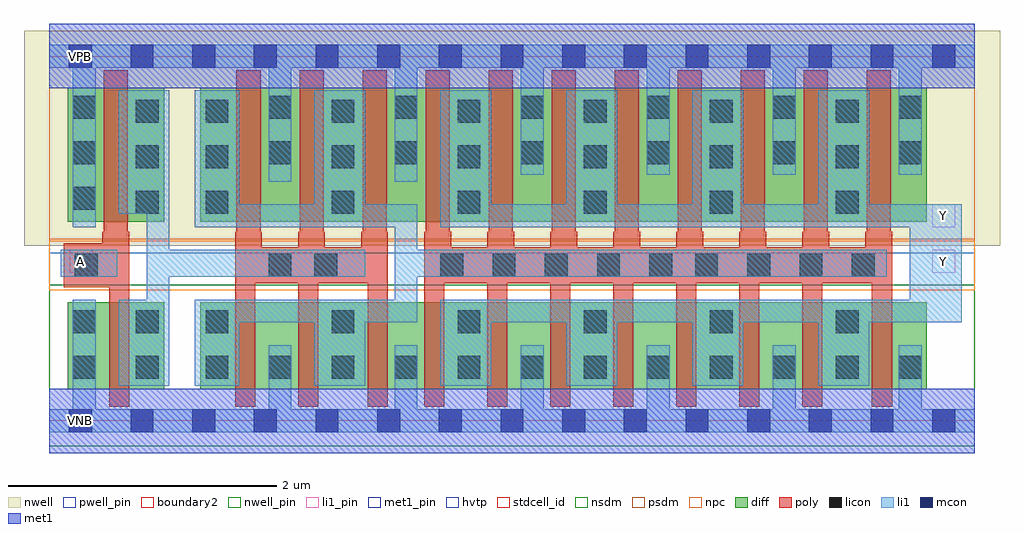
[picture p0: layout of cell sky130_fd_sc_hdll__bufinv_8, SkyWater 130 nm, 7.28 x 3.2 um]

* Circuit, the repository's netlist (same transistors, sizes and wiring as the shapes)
* Copyright 2020 The SkyWater PDK Authors
*
* Licensed under the Apache License, Version 2.0 (the "License");
* you may not use this file except in compliance with the License.
* You may obtain a copy of the License at
*
*     https://www.apache.org/licenses/LICENSE-2.0
*
* Unless required by applicable law or agreed to in writing, software
* distributed under the License is distributed on an "AS IS" BASIS,
* WITHOUT WARRANTIES OR CONDITIONS OF ANY KIND, either express or implied.
* See the License for the specific language governing permissions and
* limitations under the License.
*
* SPDX-License-Identifier: Apache-2.0

.SUBCKT sky130_fd_sc_hdll__bufinv_8 A VGND VNB VPB VPWR Y
*.PININFO A:I VGND:I VNB:I VPB:I VPWR:I Y:O
MMIN1 Ab A VGND VNB sky130_fd_pr__nfet_01v8 m=1 w=0.65U l=0.15U mult=1 sa=0.265
+ sb=0.265 sd=0.28 area=0.063 perim=1.14
MMIN2 Abb Ab VGND VNB sky130_fd_pr__nfet_01v8 m=3 w=0.65U l=0.15U mult=1 sa=0.265
+ sb=0.265 sd=0.28 area=0.063 perim=1.14
MMIN3 Y Abb VGND VNB sky130_fd_pr__nfet_01v8 m=8 w=0.65U l=0.15U mult=1 sa=0.265
+ sb=0.265 sd=0.28 area=0.063 perim=1.14
MMIP1 Ab A VPWR VPB sky130_fd_pr__pfet_01v8_hvt m=1 w=1.0U l=0.18U mult=1 sa=0.265
+ sb=0.265 sd=0.28 area=0.063 perim=1.14
MMIP2 Abb Ab VPWR VPB sky130_fd_pr__pfet_01v8_hvt m=3 w=1.0U l=0.18U mult=1 sa=0.265
+ sb=0.265 sd=0.28 area=0.063 perim=1.14
MMIP3 Y Abb VPWR VPB sky130_fd_pr__pfet_01v8_hvt m=8 w=1.0U l=0.18U mult=1 sa=0.265
+ sb=0.265 sd=0.28 area=0.063 perim=1.14
.ENDS sky130_fd_sc_hdll__bufinv_8

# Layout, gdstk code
import gdstk
lib = gdstk.Library(unit=1e-6, precision=1e-09)
def R(c, l, rs):  # rectangles x0, y0, x1, y1
    for r in rs: c.add(gdstk.rectangle(r[:2], r[2:], *l))
def A(c, l, x, y, w, h, nx, ny, dx, dy):  # array of equal rectangles
    R(c, l, [(x+i*dx, y+j*dy, x+i*dx+w, y+j*dy+h) for i in range(nx) for j in range(ny)])
def P(c, l, *ps):  # polygons
    for p in ps: c.add(gdstk.Polygon(p, *l))
nwell_pin = (64, 16)
nwell = (64, 20)
diff = (65, 20)
poly = (66, 20)
licon = (66, 44)
li1_pin = (67, 16)
li1 = (67, 20)
mcon = (67, 44)
met1_pin = (68, 16)
met1 = (68, 20)
hvtp = (78, 44)
stdcell_id = (81, 4)
nsdm = (93, 44)
psdm = (94, 20)
npc = (95, 20)
pwell_pin = (122, 16)
boundary2 = (236, 0)

sky130_fd_sc_hdll__bufin = lib.new_cell('sky130_fd_sc_hdll__bufinv_8')
R(sky130_fd_sc_hdll__bufin, nwell_pin, [(0.15,2.635,0.32,2.805)])
R(sky130_fd_sc_hdll__bufin, nwell, [(-0.19,1.305,7.09,2.91)])
R(sky130_fd_sc_hdll__bufin, diff, [(0.135,0.235,0.855,0.885), (1.125,0.235,6.545,0.885), (0.135,1.485,0.855,2.485), (1.125,1.485,6.545,2.485)])
P(sky130_fd_sc_hdll__bufin, poly, [(0.595,1.41),(0.585,1.41),(0.585,2.615),(0.405,2.615),(0.405,1.41),(0.395,1.41),(0.395,1.325),(0.105,1.325),(0.105,0.995),(0.445,0.995),(0.445,0.105),(0.595,0.105)],
  [(2.525,1.41),(2.515,1.41),(2.515,2.615),(2.335,2.615),(2.335,1.41),(2.325,1.41),(2.325,1.295),(2.055,1.295),(2.055,1.41),(2.045,1.41),(2.045,2.615),(1.865,2.615),(1.865,1.41),(1.855,1.41),(1.855,1.295),(1.585,1.295),(1.585,1.41),(1.575,1.41),(1.575,2.615),(1.395,2.615),(1.395,1.41),(1.385,1.41),(1.385,0.105),(1.535,0.105),(1.535,1.025),(1.855,1.025),(1.855,0.105),(2.005,0.105),(2.005,1.025),(2.375,1.025),(2.375,0.105),(2.525,0.105)],
  [(6.285,1.41),(6.275,1.41),(6.275,2.615),(6.095,2.615),(6.095,1.41),(6.085,1.41),(6.085,1.295),(5.815,1.295),(5.815,1.41),(5.805,1.41),(5.805,2.615),(5.625,2.615),(5.625,1.41),(5.615,1.41),(5.615,1.295),(5.345,1.295),(5.345,1.41),(5.335,1.41),(5.335,2.615),(5.155,2.615),(5.155,1.41),(5.145,1.41),(5.145,1.295),(4.875,1.295),(4.875,1.41),(4.865,1.41),(4.865,2.615),(4.685,2.615),(4.685,1.41),(4.675,1.41),(4.675,1.295),(4.405,1.295),(4.405,1.41),(4.395,1.41),(4.395,2.615),(4.215,2.615),(4.215,1.41),(4.205,1.41),(4.205,1.295),(3.935,1.295),(3.935,1.41),(3.925,1.41),(3.925,2.615),(3.745,2.615),(3.745,1.41),(3.735,1.41),(3.735,1.295),(3.465,1.295),(3.465,1.41),(3.455,1.41),(3.455,2.615),(3.275,2.615),(3.275,1.41),(3.265,1.41),(3.265,1.295),(2.995,1.295),(2.995,1.41),(2.985,1.41),(2.985,2.615),(2.805,2.615),(2.805,1.41),(2.795,1.41),(2.795,0.105),(2.945,0.105),(2.945,1.025),(3.265,1.025),(3.265,0.105),(3.415,0.105),(3.415,1.025),(3.735,1.025),(3.735,0.105),(3.885,0.105),(3.885,1.025),(4.205,1.025),(4.205,0.105),(4.355,0.105),(4.355,1.025),(4.675,1.025),(4.675,0.105),(4.825,0.105),(4.825,1.025),(5.145,1.025),(5.145,0.105),(5.295,0.105),(5.295,1.025),(5.615,1.025),(5.615,0.105),(5.765,0.105),(5.765,1.025),(6.135,1.025),(6.135,0.105),(6.285,0.105)])
A(sky130_fd_sc_hdll__bufin, licon, 1.165, 0.315, 0.17, 0.17, 12, 1, 0.47, 0)
A(sky130_fd_sc_hdll__bufin, licon, 1.165, 0.655, 0.17, 0.17, 6, 2, 0.94, 0.89)
A(sky130_fd_sc_hdll__bufin, licon, 2.915, 1.075, 0.17, 0.17, 5, 1, 0.39, 0)
A(sky130_fd_sc_hdll__bufin, licon, 4.815, 1.075, 0.17, 0.17, 4, 1, 0.39, 0)
A(sky130_fd_sc_hdll__bufin, licon, 0.645, 1.545, 0.17, 0.17, 1, 3, 0, 0.34)
A(sky130_fd_sc_hdll__bufin, licon, 0.175, 1.575, 0.17, 0.17, 1, 3, 0, 0.34)
A(sky130_fd_sc_hdll__bufin, licon, 1.165, 1.885, 0.17, 0.17, 6, 2, 0.94, 0.34)
A(sky130_fd_sc_hdll__bufin, licon, 1.635, 1.915, 0.17, 0.17, 6, 2, 0.94, 0.34)
R(sky130_fd_sc_hdll__bufin, licon, [(0.175,0.315,0.345,0.485), (0.645,0.315,0.815,0.485), (0.175,0.655,0.345,0.825), (0.645,0.655,0.815,0.825), (0.19,1.075,0.36,1.245), (1.635,1.075,1.805,1.245), (1.975,1.075,2.145,1.245)])
R(sky130_fd_sc_hdll__bufin, li1_pin, [(0.15,1.105,0.32,1.275), (6.585,1.105,6.755,1.275), (6.585,1.445,6.755,1.615)])
R(sky130_fd_sc_hdll__bufin, li1, [(0.085,1.075,0.505,1.275)])
P(sky130_fd_sc_hdll__bufin, li1, [(6.9,0.085),(6.505,0.085),(6.505,0.565),(6.335,0.565),(6.335,0.085),(5.565,0.085),(5.565,0.565),(5.395,0.565),(5.395,0.085),(4.625,0.085),(4.625,0.565),(4.455,0.565),(4.455,0.085),(3.685,0.085),(3.685,0.565),(3.515,0.565),(3.515,0.085),(2.745,0.085),(2.745,0.565),(2.575,0.565),(2.575,0.085),(1.805,0.085),(1.805,0.565),(1.635,0.565),(1.635,0.085),(0.345,0.085),(0.345,0.905),(0.175,0.905),(0.175,0.085),(0,0.085),(0,-0.085),(6.9,-0.085)],
  [(6.9,2.805),(0,2.805),(0,2.635),(0.175,2.635),(0.175,1.445),(0.345,1.445),(0.345,2.635),(1.635,2.635),(1.635,1.785),(1.805,1.785),(1.805,2.635),(2.575,2.635),(2.575,1.785),(2.745,1.785),(2.745,2.635),(3.515,2.635),(3.515,1.835),(3.685,1.835),(3.685,2.635),(4.455,2.635),(4.455,1.835),(4.625,1.835),(4.625,2.635),(5.395,2.635),(5.395,1.835),(5.565,1.835),(5.565,2.635),(6.335,2.635),(6.335,1.835),(6.505,1.835),(6.505,2.635),(6.9,2.635)],
  [(2.355,1.275),(0.895,1.275),(0.895,2.465),(0.515,2.465),(0.515,1.545),(0.725,1.545),(0.725,0.905),(0.515,0.905),(0.515,0.26),(0.895,0.26),(0.895,1.075),(2.355,1.075)],
  [(6.245,1.275),(2.745,1.275),(2.745,1.615),(2.355,1.615),(2.355,2.465),(1.975,2.465),(1.975,1.615),(1.415,1.615),(1.415,2.465),(1.085,2.465),(1.085,1.445),(2.575,1.445),(2.575,0.905),(1.085,0.905),(1.085,0.26),(1.415,0.26),(1.415,0.735),(1.975,0.735),(1.975,0.26),(2.355,0.26),(2.355,0.735),(2.745,0.735),(2.745,1.075),(6.245,1.075)],
  [(6.805,1.615),(6.115,1.615),(6.115,2.465),(5.735,2.465),(5.735,1.615),(5.175,1.615),(5.175,2.465),(4.795,2.465),(4.795,1.615),(4.235,1.615),(4.235,2.465),(3.855,2.465),(3.855,1.615),(3.295,1.615),(3.295,2.465),(2.915,2.465),(2.915,1.445),(6.415,1.445),(6.415,0.905),(2.915,0.905),(2.915,0.26),(3.295,0.26),(3.295,0.735),(3.855,0.735),(3.855,0.26),(4.235,0.26),(4.235,0.735),(4.795,0.735),(4.795,0.26),(5.175,0.26),(5.175,0.735),(5.735,0.735),(5.735,0.26),(6.115,0.26),(6.115,0.735),(6.805,0.735)])
A(sky130_fd_sc_hdll__bufin, mcon, 0.145, -0.085, 0.17, 0.17, 15, 2, 0.46, 2.72)
R(sky130_fd_sc_hdll__bufin, met1_pin, [(0.15,-0.085,0.32,0.085), (0.15,2.635,0.32,2.805)])
R(sky130_fd_sc_hdll__bufin, met1, [(0,-0.24,6.9,0.24), (0,2.48,6.9,2.96)])
R(sky130_fd_sc_hdll__bufin, hvtp, [(0,1.25,6.9,2.72)])
R(sky130_fd_sc_hdll__bufin, stdcell_id, [(0,0,6.9,2.72)])
R(sky130_fd_sc_hdll__bufin, nsdm, [(0,-0.19,6.9,1.015)])
R(sky130_fd_sc_hdll__bufin, psdm, [(0,1.355,6.9,2.91)])
R(sky130_fd_sc_hdll__bufin, npc, [(0,0.975,6.9,1.345)])
R(sky130_fd_sc_hdll__bufin, pwell_pin, [(0.15,-0.085,0.32,0.085)])
R(sky130_fd_sc_hdll__bufin, boundary2, [(0,0,6.9,2.72)])
sky130_fd_sc_hdll__bufin.add(gdstk.Label('A', (0.235,1.19), layer=67, texttype=5))
sky130_fd_sc_hdll__bufin.add(gdstk.Label('Y', (6.665,1.19), layer=67, texttype=5))
sky130_fd_sc_hdll__bufin.add(gdstk.Label('Y', (6.665,1.53), layer=67, texttype=5))
sky130_fd_sc_hdll__bufin.add(gdstk.Label('VNB', (0.23,0), layer=64, texttype=59))
sky130_fd_sc_hdll__bufin.add(gdstk.Label('VPB', (0.23,2.72), layer=64, texttype=5))
sky130_fd_sc_hdll__bufin.add(gdstk.Label('VGND', (0.23,0), layer=68, texttype=5))
sky130_fd_sc_hdll__bufin.add(gdstk.Label('VPWR', (0.23,2.72), layer=68, texttype=5))
sky130_fd_sc_hdll__bufin.add(gdstk.Label('bufinv_8', (0,0), layer=83, texttype=44))

lib.write_gds('sky130_fd_sc_hdll__bufinv_8.gds')
